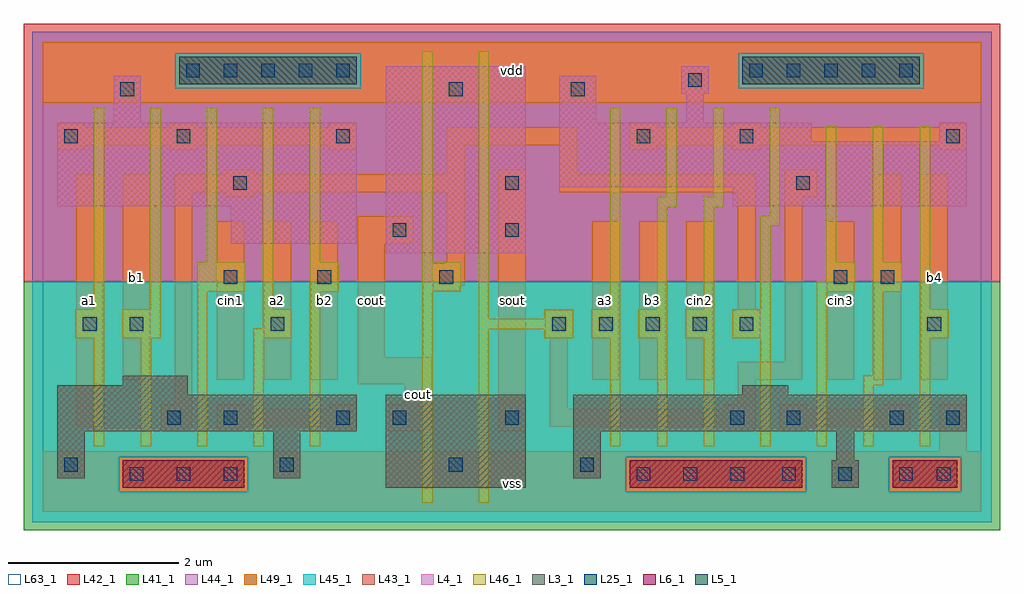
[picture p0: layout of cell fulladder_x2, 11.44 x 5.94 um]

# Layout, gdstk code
import gdstk
lib = gdstk.Library(unit=1e-6, precision=1e-09)
def R(c, l, rs):  # rectangles x0, y0, x1, y1
    for r in rs: c.add(gdstk.rectangle(r[:2], r[2:], *l))
def A(c, l, x, y, w, h, nx, ny, dx, dy):  # array of equal rectangles
    R(c, l, [(x+i*dx, y+j*dy, x+i*dx+w, y+j*dy+h) for i in range(nx) for j in range(ny)])
L3_1 = (3, 1)
L4_1 = (4, 1)
L5_1 = (5, 1)
L6_1 = (6, 1)
L25_1 = (25, 1)
L41_1 = (41, 1)
L42_1 = (42, 1)
L43_1 = (43, 1)
L44_1 = (44, 1)
L45_1 = (45, 1)
L46_1 = (46, 1)
L49_1 = (49, 1)
L63_1 = (63, 1)

fulladder_x2 = lib.new_cell('fulladder_x2')
R(fulladder_x2, L3_1, [(4.02,0.28,5.66,1.37), (9.245,0.28,9.565,0.6), (0.17,0.39,0.49,0.94), (2.7,0.39,3.02,0.94), (6.22,0.39,6.54,0.94), (9.3,0.6,9.51,0.94), (0.17,0.94,3.68,1.37), (6.22,0.94,10.83,1.37), (0.17,1.37,1.7,1.48), (8.2,1.37,8.74,1.48), (0.94,1.48,1.7,1.59)])
R(fulladder_x2, L4_1, [(4.02,3.03,5.66,5.22), (2.205,3.14,3.68,3.58), (0.17,3.58,3.68,4.56), (8.09,3.58,10.83,3.8), (6.055,3.8,10.83,4.34), (6.055,4.34,9.015,4.56), (10.51,4.34,10.83,4.56), (0.83,4.56,1.15,5.11), (6.055,4.56,6.485,5.11), (7.54,4.56,7.75,4.9), (7.485,4.9,7.805,5.22)])
R(fulladder_x2, L5_1, [(1.6,5.01,3.68,5.33), (8.2,5.01,10.28,5.33)])
R(fulladder_x2, L6_1, [(0.94,0.28,2.36,0.6), (6.88,0.28,8.905,0.6), (9.96,0.28,10.72,0.6)])
A(fulladder_x2, L25_1, 1.02, 0.36, 0.16, 0.16, 3, 1, 0.55, 0)
A(fulladder_x2, L25_1, 6.96, 0.36, 0.16, 0.16, 3, 1, 0.55, 0)
A(fulladder_x2, L25_1, 5.97, 2.12, 0.16, 0.16, 5, 1, 0.55, 0)
A(fulladder_x2, L25_1, 1.68, 5.09, 0.16, 0.16, 5, 1, 0.44, 0)
A(fulladder_x2, L25_1, 8.28, 5.09, 0.16, 0.16, 5, 1, 0.44, 0)
R(fulladder_x2, L25_1, [(8.665,0.36,8.825,0.52), (9.325,0.36,9.485,0.52), (10.04,0.36,10.2,0.52), (10.48,0.36,10.64,0.52), (0.25,0.47,0.41,0.63), (2.78,0.47,2.94,0.63), (4.76,0.47,4.92,0.63), (6.3,0.47,6.46,0.63), (1.46,1.02,1.62,1.18), (2.12,1.02,2.28,1.18), (3.44,1.02,3.6,1.18), (4.1,1.02,4.26,1.18), (5.42,1.02,5.58,1.18), (8.06,1.02,8.22,1.18), (8.72,1.02,8.88,1.18), (9.93,1.02,10.09,1.18), (10.59,1.02,10.75,1.18), (0.47,2.12,0.63,2.28), (1.02,2.12,1.18,2.28), (2.67,2.12,2.83,2.28), (10.37,2.12,10.53,2.28), (2.12,2.67,2.28,2.83), (3.22,2.67,3.38,2.83), (4.65,2.67,4.81,2.83), (9.27,2.67,9.43,2.83), (9.82,2.67,9.98,2.83), (4.1,3.22,4.26,3.38), (5.42,3.22,5.58,3.38), (2.23,3.77,2.39,3.93), (5.42,3.77,5.58,3.93), (8.83,3.77,8.99,3.93), (0.25,4.32,0.41,4.48), (1.57,4.32,1.73,4.48), (3.44,4.32,3.6,4.48), (6.96,4.32,7.12,4.48), (8.17,4.32,8.33,4.48), (10.59,4.32,10.75,4.48), (0.91,4.87,1.07,5.03), (4.76,4.87,4.92,5.03), (6.19,4.87,6.35,5.03), (7.565,4.98,7.725,5.14)])
R(fulladder_x2, L41_1, [(-0.22,-0.22,11.22,2.695)])
R(fulladder_x2, L42_1, [(-0.22,2.695,11.22,5.72)])
R(fulladder_x2, L43_1, [(0.94,0.28,2.36,0.6), (4.02,0.28,5.66,1.37), (6.88,0.28,8.905,0.6), (9.245,0.28,9.565,0.6), (9.96,0.28,10.72,0.6), (0.17,0.39,0.49,0.94), (2.7,0.39,3.02,0.94), (6.22,0.39,6.54,0.94), (9.3,0.6,9.51,0.94), (0.17,0.94,3.68,1.37), (6.22,0.94,10.83,1.37), (0.17,1.37,1.7,1.48), (8.2,1.37,8.74,1.48), (0.94,1.48,1.7,1.59), (4.02,3.03,5.66,5.22), (2.205,3.14,3.68,3.58), (0.17,3.58,3.68,4.56), (8.09,3.58,10.83,3.8), (6.055,3.8,10.83,4.34), (6.055,4.34,9.015,4.56), (10.51,4.34,10.83,4.56), (0.83,4.56,1.15,5.11), (6.055,4.56,6.485,5.11), (7.54,4.56,7.75,4.9), (7.485,4.9,7.805,5.22), (1.6,5.01,3.68,5.33), (8.2,5.01,10.28,5.33)])
R(fulladder_x2, L44_1, [(0.895,0.235,2.405,0.645), (6.835,0.235,8.95,0.645), (9.915,0.235,10.765,0.645), (-0.125,2.695,11.125,4.965), (-0.125,4.965,1.555,5.375), (3.725,4.965,8.155,5.375), (10.325,4.965,11.125,5.375), (-0.125,5.375,11.125,5.625)])
R(fulladder_x2, L45_1, [(-0.125,-0.125,11.125,0.235), (-0.125,0.235,0.895,0.645), (2.405,0.235,6.835,0.645), (8.95,0.235,9.915,0.645), (10.765,0.235,11.125,0.645), (-0.125,0.645,11.125,2.695), (1.555,4.965,3.725,5.375), (8.155,4.965,10.325,5.375)])
A(fulladder_x2, L46_1, 6.65, 0.765, 0.12, 1.265, 3, 1, 0.55, 0)
A(fulladder_x2, L46_1, 6.43, 2.03, 0.34, 0.34, 3, 1, 0.55, 0)
R(fulladder_x2, L46_1, [(4.45,0.105,4.57,2.58), (5.11,0.105,5.23,2.14), (0.6,0.765,0.72,2.03), (1.15,0.765,1.27,2.03), (1.81,0.765,1.93,2.58), (2.47,0.765,2.59,2.03), (3.13,0.765,3.25,2.58), (8.41,0.765,8.53,2.03), (9.07,0.765,9.19,2.58), (9.62,0.765,9.74,1.48), (10.28,0.765,10.4,2.03), (9.62,1.48,9.85,1.6), (9.73,1.6,9.85,2.58), (0.38,2.03,0.72,2.37), (0.93,2.03,1.38,2.37), (2.47,2.03,2.92,2.15), (5.88,2.03,6.22,2.14), (8.08,2.03,8.53,2.37), (10.28,2.03,10.62,2.37), (5.11,2.14,6.22,2.26), (2.58,2.15,2.92,2.37), (5.11,2.26,5.23,5.395), (5.88,2.26,6.22,2.37), (0.6,2.37,0.72,4.735), (1.26,2.37,1.38,4.735), (2.58,2.37,2.7,4.735), (6.65,2.37,6.77,4.735), (7.2,2.37,7.32,3.57), (7.75,2.37,7.87,3.57), (8.41,2.37,8.53,3.35), (10.28,2.37,10.4,4.515), (1.81,2.58,2.37,2.92), (3.13,2.58,3.47,2.92), (4.45,2.58,4.9,2.92), (9.07,2.58,9.52,2.7), (9.73,2.58,10.07,2.92), (9.18,2.7,9.52,2.92), (1.92,2.92,2.04,4.735), (3.13,2.92,3.25,4.735), (4.45,2.92,4.57,5.395), (9.18,2.92,9.3,4.515), (9.73,2.92,9.85,4.515), (8.41,3.35,8.64,3.47), (8.52,3.47,8.64,4.735), (7.2,3.57,7.43,3.69), (7.75,3.57,7.98,3.69), (7.31,3.69,7.43,4.735), (7.86,3.69,7.98,4.735)])
A(fulladder_x2, L49_1, 2.04, 1.545, 0.32, 1.86, 3, 1, 0.55, 0)
A(fulladder_x2, L49_1, 6.44, 1.545, 0.32, 1.86, 3, 1, 0.55, 0)
R(fulladder_x2, L49_1, [(0,0,11,0.71), (10.51,0.71,10.83,1.26), (1.38,0.94,1.7,0.995), (2.04,0.94,2.36,0.995), (3.36,0.94,3.68,0.995), (4.02,0.94,4.505,0.995), (5.34,0.94,5.66,4.01), (7.98,0.94,8.355,0.995), (8.64,0.94,8.96,0.995), (9.85,0.94,10.17,0.995), (0.39,0.995,0.71,3.955), (1.38,0.995,1.755,1.26), (2.04,0.995,3.68,1.205), (4.02,0.995,4.56,1.26), (5.945,0.995,8.355,1.205), (8.64,0.995,10.17,1.205), (2.04,1.205,2.36,1.26), (3.36,1.205,3.68,1.26), (5.945,1.205,6.155,2.04), (7.98,1.205,8.355,1.26), (8.64,1.205,8.96,1.26), (9.85,1.205,10.17,1.26), (1.545,1.26,1.755,3.745), (4.24,1.26,4.56,1.49), (8.145,1.26,8.355,1.545), (3.69,1.49,4.56,1.81), (0.94,1.545,1.26,3.955), (8.145,1.545,8.905,1.755), (9.19,1.545,9.51,3.405), (9.74,1.545,10.06,3.955), (10.29,1.545,10.61,3.955), (8.695,1.755,8.905,3.69), (3.69,1.81,4.01,3.14), (5.89,2.04,6.21,2.36), (8.09,2.04,8.41,2.36), (8.145,2.36,8.355,3.745), (4.57,2.59,4.89,2.645), (4.57,2.645,4.945,2.91), (4.735,2.91,4.945,3.745), (3.69,3.14,4.34,3.46), (2.15,3.69,2.47,3.745), (8.695,3.69,9.07,4.01), (1.545,3.745,4.945,3.955), (6.055,3.745,8.355,3.955), (2.15,3.955,2.47,4.01), (4.735,3.955,4.945,4.295), (6.055,3.955,6.265,4.295), (0.17,4.24,0.49,4.295), (1.49,4.24,1.81,4.295), (3.36,4.24,3.68,4.295), (6.88,4.24,7.2,4.295), (8.09,4.24,8.41,4.295), (10.51,4.24,10.83,4.295), (0.17,4.295,3.68,4.505), (4.735,4.295,6.265,4.505), (6.88,4.295,10.83,4.505), (0.17,4.505,0.49,4.56), (1.49,4.505,1.81,4.56), (3.36,4.505,3.68,4.56), (6.88,4.505,7.2,4.56), (8.09,4.505,8.41,4.56), (10.51,4.505,10.83,4.56), (0,4.79,11,5.5)])
R(fulladder_x2, L63_1, [(0,0,11,5.5)])
fulladder_x2.add(gdstk.Label('a1', (0.55,2.475), layer=49, texttype=1))
fulladder_x2.add(gdstk.Label('b1', (1.1,2.75), layer=49, texttype=1))
fulladder_x2.add(gdstk.Label('b1', (1.1,2.75), layer=49, texttype=1))
fulladder_x2.add(gdstk.Label('a1', (0.55,2.475), layer=49, texttype=1))
fulladder_x2.add(gdstk.Label('cin1', (2.2,2.475), layer=49, texttype=1))
fulladder_x2.add(gdstk.Label('cin1', (2.2,2.475), layer=49, texttype=1))
fulladder_x2.add(gdstk.Label('cout', (3.85,2.475), layer=49, texttype=1))
fulladder_x2.add(gdstk.Label('b2', (3.3,2.475), layer=49, texttype=1))
fulladder_x2.add(gdstk.Label('a2', (2.75,2.475), layer=49, texttype=1))
fulladder_x2.add(gdstk.Label('cout', (3.85,2.475), layer=49, texttype=1))
fulladder_x2.add(gdstk.Label('a2', (2.75,2.475), layer=49, texttype=1))
fulladder_x2.add(gdstk.Label('b2', (3.3,2.475), layer=49, texttype=1))
fulladder_x2.add(gdstk.Label('vss', (5.5,0.33), layer=49, texttype=1))
fulladder_x2.add(gdstk.Label('vss', (5.5,0.33), layer=49, texttype=1))
fulladder_x2.add(gdstk.Label('cout', (4.4,1.375), layer=49, texttype=1))
fulladder_x2.add(gdstk.Label('cout', (4.4,1.375), layer=49, texttype=1))
fulladder_x2.add(gdstk.Label('sout', (5.5,2.475), layer=49, texttype=1))
fulladder_x2.add(gdstk.Label('sout', (5.5,2.475), layer=49, texttype=1))
fulladder_x2.add(gdstk.Label('vdd', (5.5,5.17), layer=49, texttype=1))
fulladder_x2.add(gdstk.Label('vdd', (5.5,5.17), layer=49, texttype=1))
fulladder_x2.add(gdstk.Label('a3', (6.6,2.475), layer=49, texttype=1))
fulladder_x2.add(gdstk.Label('a3', (6.6,2.475), layer=49, texttype=1))
fulladder_x2.add(gdstk.Label('cin2', (7.7,2.475), layer=49, texttype=1))
fulladder_x2.add(gdstk.Label('b3', (7.15,2.475), layer=49, texttype=1))
fulladder_x2.add(gdstk.Label('cin2', (7.7,2.475), layer=49, texttype=1))
fulladder_x2.add(gdstk.Label('b3', (7.15,2.475), layer=49, texttype=1))
fulladder_x2.add(gdstk.Label('b4', (10.45,2.75), layer=49, texttype=1))
fulladder_x2.add(gdstk.Label('cin3', (9.35,2.475), layer=49, texttype=1))
fulladder_x2.add(gdstk.Label('b4', (10.45,2.75), layer=49, texttype=1))
fulladder_x2.add(gdstk.Label('cin3', (9.35,2.475), layer=49, texttype=1))

lib.write_gds('fulladder_x2.gds')
